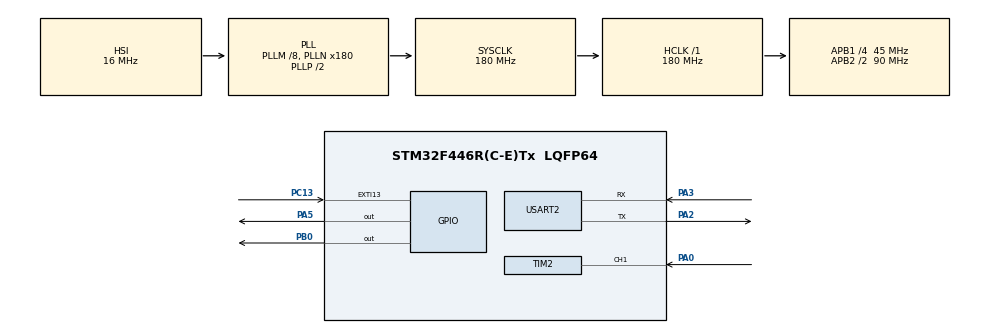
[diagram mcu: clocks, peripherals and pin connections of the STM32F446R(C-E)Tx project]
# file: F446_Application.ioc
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FREERTOS.INCLUDE_xTimerPendFunctionCall=1
FREERTOS.Tasks01=defaultTask,0,128,StartDefaultTask,Default,NULL,Dynamic,NULL,NULL
FREERTOS.configUSE_NEWLIB_REENTRANT=1
FREERTOS.configUSE_TIMERS=1
Mcu.Family=STM32F4
Mcu.Name=STM32F446R(C-E)Tx
Mcu.Package=LQFP64
NVIC.EXTI15_10_IRQn=true\:5\:0\:false\:false\:true\:true\:true\:true\:true
NVIC.PriorityGroup=NVIC_PRIORITYGROUP_4
NVIC.TIM2_IRQn=true\:5\:0\:false\:false\:true\:true\:true\:true\:true
NVIC.TIM6_DAC_IRQn=true\:15\:0\:false\:false\:true\:false\:false\:true\:true
NVIC.TimeBase=TIM6_DAC_IRQn
NVIC.TimeBaseIP=TIM6
PA0-WKUP.Signal=S_TIM2_CH1_ETR
PA13.Mode=Serial_Wire
PA13.Signal=SYS_JTMS-SWDIO
PA14.Mode=Serial_Wire
PA14.Signal=SYS_JTCK-SWCLK
PA2.Mode=Asynchronous
PA2.Signal=USART2_TX
PA3.Mode=Asynchronous
PA3.Signal=USART2_RX
PA5.Signal=GPIO_Output
PB0.Signal=GPIO_Output
PC13.GPIO_ModeDefaultEXTI=GPIO_MODE_IT_FALLING
PC13.Signal=GPXTI13
ProjectManager.HeapSize=0x200
ProjectManager.StackSize=0x400
ProjectManager.TargetToolchain=STM32CubeIDE
RCC.AHBFreq_Value=180000000
RCC.APB1CLKDivider=RCC_HCLK_DIV4
RCC.APB1Freq_Value=45000000
RCC.APB1TimFreq_Value=90000000
RCC.APB2CLKDivider=RCC_HCLK_DIV2
RCC.APB2Freq_Value=90000000
RCC.APB2TimFreq_Value=180000000
RCC.CortexFreq_Value=180000000
RCC.FLatency-AdvancedSettings=FLASH_LATENCY_5
RCC.HCLKFreq_Value=180000000
RCC.HSE_VALUE=8000000
RCC.HSI_VALUE=16000000
RCC.LSE_VALUE=32768
RCC.PLLM=8
RCC.PLLN=180
RCC.SYSCLKFreq_VALUE=180000000
RCC.SYSCLKSource=RCC_SYSCLKSOURCE_PLLCLK
RCC.USBFreq_Value=180000000
RCC.VCOOutputFreq_Value=360000000
SH.S_TIM2_CH1_ETR.0=TIM2_CH1,Input_Capture1_from_TI1
TIM2.Channel-Input_Capture1_from_TI1=TIM_CHANNEL_1
TIM2.Prescaler=90-1
USART2.VirtualMode=VM_ASYNC
VP_FREERTOS_VS_CMSIS_V1.Mode=CMSIS_V1
VP_SYS_VS_tim6.Mode=TIM6
board=NUCLEO-F446RE

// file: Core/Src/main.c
/* USER CODE BEGIN Header */
/**
  ******************************************************************************
  * @file           : main.c
  * @brief          : Main program body
  ******************************************************************************
  * @attention
  *
  * Copyright (c) 2026 STMicroelectronics.
  * All rights reserved.
  *
  * This software is licensed under terms that can be found in the LICENSE file
  * in the root directory of this software component.
  * If no LICENSE file comes with this software, it is provided AS-IS.
  *
  ******************************************************************************
  */
/* USER CODE END Header */
#include "main.h"

/* USER CODE BEGIN Includes */
#include"flash_layout.h"
#include "app_header.h"
#include<stdio.h>
#include<string.h>

/****** FreeRTOS ********/
#include "FreeRTOS.h"
#include "task.h"
#include "timers.h"
#include "queue.h"
#include "semphr.h"
//#include "event_groups.h"

/* USER CODE END Includes */

TIM_HandleTypeDef htim2;

UART_HandleTypeDef huart2;

/* USER CODE BEGIN PV */
__attribute__((section(".app_header")))
const AppHeader_t app_header = {
		.crc = 0,
		.magic = 0xABCDEFAB,
		.ota_flag = 0,
		.size = 0,
		.version = 0,
};

/********** create handles for Tasks, Semaphore, mutex, queue **********/
TaskHandle_t ProducerTask_handle, ConsumerTask_handle;
SemaphoreHandle_t UARTMutex_handle;
QueueHandle_t SensorData_handle;
TimerHandle_t LEDTimer_handle;

// Timer Task ID
int LEDtimer_ID = 1;

// variables for Ultrasonic sensor
volatile uint32_t ic_val1 = 0;
volatile uint32_t ic_val2 = 0;
volatile uint8_t is_first_capture = 0;
volatile uint32_t echo_time_us = 0;

// Final Distance
uint16_t distance_cm = 0;

void Ultrasonic_Trigger(void)
{
    HAL_GPIO_WritePin(GPIOB, GPIO_PIN_0, GPIO_PIN_RESET);
    vTaskDelay(pdMS_TO_TICKS(2));

    HAL_GPIO_WritePin(GPIOB, GPIO_PIN_0, GPIO_PIN_SET);
    vTaskDelay(pdMS_TO_TICKS(1)); // 1ms but is greater than 10us
    HAL_GPIO_WritePin(GPIOB, GPIO_PIN_0, GPIO_PIN_RESET);
}

void ProducerTask_Entry(void *arg){
	// static uint16_t data = 1;
	while(1){
		// wait for the semaphore release,
		ulTaskNotifyTake(pdTRUE, portMAX_DELAY);

		// once released,

		//capture the sensor data
		Ultrasonic_Trigger();

		// wait until the ECHO reaches the timer IC pin, it usually get's the data in us, but we can use 2ms
		vTaskDelay(pdMS_TO_TICKS(50));

		// then add the sensor data to the Queue
		xQueueSend(SensorData_handle, &distance_cm, portMAX_DELAY);
	}
}

void ConsumerTask_Entry(void *arg){
	uint16_t received_data;
	char strBuffer[32];

	while(1){
		// wait until some data is in the queue
		if(xQueueReceive(SensorData_handle, &received_data, portMAX_DELAY) == pdTRUE){
			// take the mutex and print it using the UART
			xSemaphoreTake(UARTMutex_handle, portMAX_DELAY);

			// send the data to UART
			snprintf(strBuffer, sizeof(strBuffer), "Data send from Sensor is %hu\r\n", received_data);
			HAL_UART_Transmit(&huart2, (uint8_t *)strBuffer, 32, 10);

			// release the mutex
			xSemaphoreGive(UARTMutex_handle);
		}

		vTaskDelay(pdMS_TO_TICKS(1000));
	}
}

void HAL_GPIO_EXTI_Callback(uint16_t GPIO_Pin){
	if(GPIO_Pin == GPIO_PIN_13){
		// if PA 13 is pressed
		// release the semaphore

		BaseType_t xHigherPriorityTaskWoken = pdFALSE;
		vTaskNotifyGiveFromISR(ProducerTask_handle, &xHigherPriorityTaskWoken);

		// context switch if required
		portYIELD_FROM_ISR(xHigherPriorityTaskWoken);
	}
}

// callback for LED => every 1000ms
void BlinkLEDCallback(TimerHandle_t xTimer){
	if((int)pvTimerGetTimerID(xTimer) == LEDtimer_ID){
		HAL_GPIO_TogglePin(GPIOA, GPIO_PIN_5);
	}
}

// callback when either Edge is detected at the Tim2Chn1 pin
void HAL_TIM_IC_CaptureCallback(TIM_HandleTypeDef *htim)
{
    if (htim->Instance == TIM2 && htim->Channel == HAL_TIM_ACTIVE_CHANNEL_1)
    {
    	// if rising edge is detected
        if (is_first_capture == 0)
        {
            ic_val1 = HAL_TIM_ReadCapturedValue(htim, TIM_CHANNEL_1);
            is_first_capture = 1;

            __HAL_TIM_SET_CAPTUREPOLARITY(htim, TIM_CHANNEL_1, TIM_INPUTCHANNELPOLARITY_FALLING);
        }
        else
        {
        	// if falling edge detected, then calculate the total dist. using Pulse width
            ic_val2 = HAL_TIM_ReadCapturedValue(htim, TIM_CHANNEL_1);

            if (ic_val2 > ic_val1)
                echo_time_us = ic_val2 - ic_val1;
            else
                echo_time_us = (0xFFFFFFFF - ic_val1) + ic_val2;

            distance_cm = echo_time_us / 58; // standard HC-SR04 formula

            // reset the variables
            is_first_capture = 0;
            __HAL_TIM_SET_COUNTER(htim, 0);
            __HAL_TIM_SET_CAPTUREPOLARITY(htim, TIM_CHANNEL_1, TIM_INPUTCHANNELPOLARITY_RISING);
        }
    }
}

/* USER CODE END PV */

void SystemClock_Config(void);
static void MX_GPIO_Init(void);
static void MX_USART2_UART_Init(void);
static void MX_TIM2_Init(void);
void StartDefaultTask(void const * argument);

int main(void)
{

  /* MCU Configuration--------------------------------------------------------*/

  /* Reset of all peripherals, Initializes the Flash interface and the Systick. */
  HAL_Init();

  /* USER CODE BEGIN Init */
  __enable_irq();
  /* USER CODE END Init */

  /* Configure the system clock */
  SystemClock_Config();

  /* Initialize all configured peripherals */
  MX_GPIO_Init();
  MX_USART2_UART_Init();
  MX_TIM2_Init();
  /* USER CODE BEGIN 2 */

  HAL_GPIO_TogglePin(GPIOA, GPIO_PIN_5);
  HAL_UART_Transmit(&huart2, (uint8_t *)"Running Application.\r\n", 22, 1000);
  HAL_Delay(100);

  /*************** Create tasks, Semaphores, queues & mutex **************/
  BaseType_t ProducerTask_status, ConsumerTask_status;
  ProducerTask_status = xTaskCreate(ProducerTask_Entry, "ProducerTask", 128, NULL, 3, &ProducerTask_handle);
  ConsumerTask_status = xTaskCreate(ConsumerTask_Entry, "consumerTask", 128, NULL, 2, &ConsumerTask_handle);

  if(ProducerTask_status == pdTRUE && ConsumerTask_status == pdTRUE){
	  HAL_UART_Transmit(&huart2, (uint8_t *)"Tasks are created.\r\n", 20, 10);
  }

  UARTMutex_handle = xSemaphoreCreateMutex();
  SensorData_handle = xQueueCreate(5, sizeof(uint16_t));

  if(UARTMutex_handle != NULL){
  	  HAL_UART_Transmit(&huart2, (uint8_t *)"Mutex is created.\r\n", 19, 10);
  }

  if(SensorData_handle != NULL){
  	  HAL_UART_Transmit(&huart2, (uint8_t *)"Queue is created.\r\n", 19, 10);
  }

  // create timer for LED blink every 1000ms
  LEDTimer_handle = xTimerCreate("LED", pdMS_TO_TICKS(1000), pdTRUE, (void *)LEDtimer_ID, BlinkLEDCallback);
  if(LEDTimer_handle != NULL){
    	  HAL_UART_Transmit(&huart2, (uint8_t *)"Timer is created.\r\n", 19, 10);
  }

  // start the timer for LED task
  xTimerStart(LEDTimer_handle, 10);

  // start the timer for Sensor IC mode
  HAL_TIM_IC_Start_IT(&htim2, TIM_CHANNEL_1);

  vTaskStartScheduler();

  /* USER CODE END 2 */

  /* We should never get here as control is now taken by the scheduler */

  /* Infinite loop */
  while (1)
  {

  }
}

void SystemClock_Config(void)
{
  RCC_OscInitTypeDef RCC_OscInitStruct = {0};
  RCC_ClkInitTypeDef RCC_ClkInitStruct = {0};

  /** Configure the main internal regulator output voltage
  */
  __HAL_RCC_PWR_CLK_ENABLE();
  __HAL_PWR_VOLTAGESCALING_CONFIG(PWR_REGULATOR_VOLTAGE_SCALE1);

  /** Initializes the RCC Oscillators according to the specified parameters
  * in the RCC_OscInitTypeDef structure.
  */
  RCC_OscInitStruct.OscillatorType = RCC_OSCILLATORTYPE_HSI;
  RCC_OscInitStruct.HSIState = RCC_HSI_ON;
  RCC_OscInitStruct.HSICalibrationValue = RCC_HSICALIBRATION_DEFAULT;
  RCC_OscInitStruct.PLL.PLLState = RCC_PLL_ON;
  RCC_OscInitStruct.PLL.PLLSource = RCC_PLLSOURCE_HSI;
  RCC_OscInitStruct.PLL.PLLM = 8;
  RCC_OscInitStruct.PLL.PLLN = 180;
  RCC_OscInitStruct.PLL.PLLP = RCC_PLLP_DIV2;
  RCC_OscInitStruct.PLL.PLLQ = 2;
  RCC_OscInitStruct.PLL.PLLR = 2;
  if (HAL_RCC_OscConfig(&RCC_OscInitStruct) != HAL_OK)
  {
    Error_Handler();
  }

  /** Activate the Over-Drive mode
  */
  if (HAL_PWREx_EnableOverDrive() != HAL_OK)
  {
    Error_Handler();
  }

  /** Initializes the CPU, AHB and APB buses clocks
  */
  RCC_ClkInitStruct.ClockType = RCC_CLOCKTYPE_HCLK|RCC_CLOCKTYPE_SYSCLK
                              |RCC_CLOCKTYPE_PCLK1|RCC_CLOCKTYPE_PCLK2;
  RCC_ClkInitStruct.SYSCLKSource = RCC_SYSCLKSOURCE_PLLCLK;
  RCC_ClkInitStruct.AHBCLKDivider = RCC_SYSCLK_DIV1;
  RCC_ClkInitStruct.APB1CLKDivider = RCC_HCLK_DIV4;
  RCC_ClkInitStruct.APB2CLKDivider = RCC_HCLK_DIV2;

  if (HAL_RCC_ClockConfig(&RCC_ClkInitStruct, FLASH_LATENCY_5) != HAL_OK)
  {
    Error_Handler();
  }
}

static void MX_TIM2_Init(void)
{

  TIM_MasterConfigTypeDef sMasterConfig = {0};
  TIM_IC_InitTypeDef sConfigIC = {0};

  htim2.Instance = TIM2;
  htim2.Init.Prescaler = 90-1;
  htim2.Init.CounterMode = TIM_COUNTERMODE_UP;
  htim2.Init.Period = 4294967295;
  htim2.Init.ClockDivision = TIM_CLOCKDIVISION_DIV1;
  htim2.Init.AutoReloadPreload = TIM_AUTORELOAD_PRELOAD_DISABLE;
  if (HAL_TIM_IC_Init(&htim2) != HAL_OK)
  {
    Error_Handler();
  }
  sMasterConfig.MasterOutputTrigger = TIM_TRGO_RESET;
  sMasterConfig.MasterSlaveMode = TIM_MASTERSLAVEMODE_DISABLE;
  if (HAL_TIMEx_MasterConfigSynchronization(&htim2, &sMasterConfig) != HAL_OK)
  {
    Error_Handler();
  }
  sConfigIC.ICPolarity = TIM_INPUTCHANNELPOLARITY_RISING;
  sConfigIC.ICSelection = TIM_ICSELECTION_DIRECTTI;
  sConfigIC.ICPrescaler = TIM_ICPSC_DIV1;
  sConfigIC.ICFilter = 0;
  if (HAL_TIM_IC_ConfigChannel(&htim2, &sConfigIC, TIM_CHANNEL_1) != HAL_OK)
  {
    Error_Handler();
  }

}

static void MX_USART2_UART_Init(void)
{

  huart2.Instance = USART2;
  huart2.Init.BaudRate = 115200;
  huart2.Init.WordLength = UART_WORDLENGTH_8B;
  huart2.Init.StopBits = UART_STOPBITS_1;
  huart2.Init.Parity = UART_PARITY_NONE;
  huart2.Init.Mode = UART_MODE_TX_RX;
  huart2.Init.HwFlowCtl = UART_HWCONTROL_NONE;
  huart2.Init.OverSampling = UART_OVERSAMPLING_16;
  if (HAL_UART_Init(&huart2) != HAL_OK)
  {
    Error_Handler();
  }

}

static void MX_GPIO_Init(void)
{
  GPIO_InitTypeDef GPIO_InitStruct = {0};

  /* GPIO Ports Clock Enable */
  __HAL_RCC_GPIOC_CLK_ENABLE();
  __HAL_RCC_GPIOA_CLK_ENABLE();
  __HAL_RCC_GPIOB_CLK_ENABLE();

  /*Configure GPIO pin Output Level */
  HAL_GPIO_WritePin(GPIOA, GPIO_PIN_5, GPIO_PIN_RESET);

  /*Configure GPIO pin Output Level */
  HAL_GPIO_WritePin(GPIOB, GPIO_PIN_0, GPIO_PIN_RESET);

  /*Configure GPIO pin : PC13 */
  GPIO_InitStruct.Pin = GPIO_PIN_13;
  GPIO_InitStruct.Mode = GPIO_MODE_IT_FALLING;
  GPIO_InitStruct.Pull = GPIO_NOPULL;
  HAL_GPIO_Init(GPIOC, &GPIO_InitStruct);

  /*Configure GPIO pin : PA5 */
  GPIO_InitStruct.Pin = GPIO_PIN_5;
  GPIO_InitStruct.Mode = GPIO_MODE_OUTPUT_PP;
  GPIO_InitStruct.Pull = GPIO_NOPULL;
  GPIO_InitStruct.Speed = GPIO_SPEED_FREQ_LOW;
  HAL_GPIO_Init(GPIOA, &GPIO_InitStruct);

  /*Configure GPIO pin : PB0 */
  GPIO_InitStruct.Pin = GPIO_PIN_0;
  GPIO_InitStruct.Mode = GPIO_MODE_OUTPUT_PP;
  GPIO_InitStruct.Pull = GPIO_NOPULL;
  GPIO_InitStruct.Speed = GPIO_SPEED_FREQ_LOW;
  HAL_GPIO_Init(GPIOB, &GPIO_InitStruct);

  /* EXTI interrupt init*/
  HAL_NVIC_SetPriority(EXTI15_10_IRQn, 5, 0);
  HAL_NVIC_EnableIRQ(EXTI15_10_IRQn);

}

void HAL_TIM_PeriodElapsedCallback(TIM_HandleTypeDef *htim)
{
  if (htim->Instance == TIM6) {
    HAL_IncTick();
  }
}

void Error_Handler(void)
{
  __disable_irq();
  while (1)
  {
  }
}
